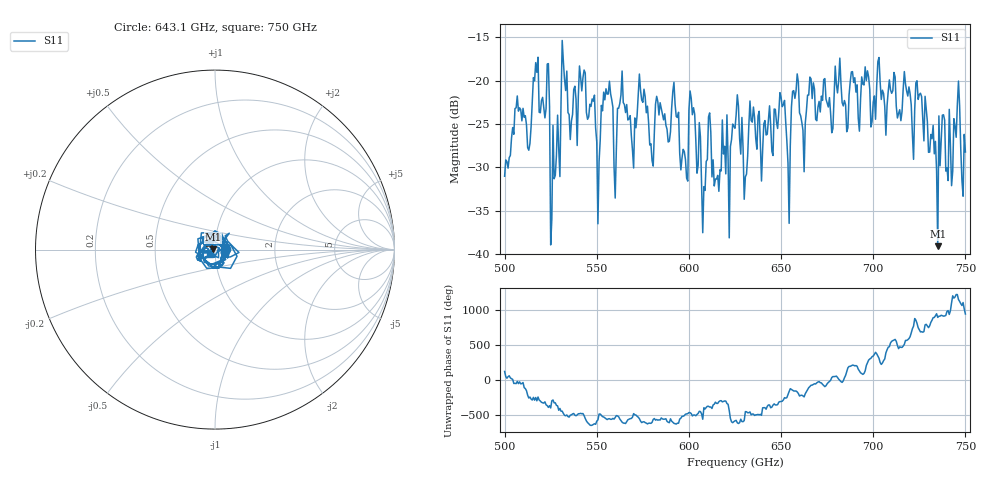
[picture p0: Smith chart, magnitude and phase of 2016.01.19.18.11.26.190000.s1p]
!Created with skrf (http://scikit-rf.org).
# GHz S RI R 50.0
!freq ReS11 ImS11
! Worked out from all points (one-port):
!   401 points, 500 GHz to 750 GHz, reference 50 ohm
!   lowest |S11| = -39.1 dB at 735 GHz (marker M1), VSWR 1.02, Z = 48.9 + j0.127 ohm
!   |S11| at or under -10 dB: start of sweep to end of sweep
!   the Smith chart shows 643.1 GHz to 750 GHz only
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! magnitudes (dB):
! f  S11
! 500 GHz  -31.0
! 506.9 GHz  -21.8
! 513.1 GHz  -28.0
! 516.9 GHz  -17.9
! 523.1 GHz  -18.1
! 526.2 GHz  -25.2
! 531.2 GHz  -15.4
! 542.5 GHz  -19.7
! 550.6 GHz  -36.5
! 553.8 GHz  -21.3
! 562.5 GHz  -22.6
! 593.8 GHz  -24.3
! 598.1 GHz  -29.1
! 601.9 GHz  -23.9
! 608.1 GHz  -32.2
! 610.6 GHz  -24.2
! 615 GHz  -31.3
! 625 GHz  -25.5
! 630.6 GHz  -31.1
! 634.4 GHz  -24.8
! 650.6 GHz  -23.0
! 653.8 GHz  -29.5
! 656.2 GHz  -21.2
! 687.5 GHz  -20.2
! 718.8 GHz  -21.8
! 735 GHz  -39.1
! 745.6 GHz  -22.8
! 750 GHz  -28.2
